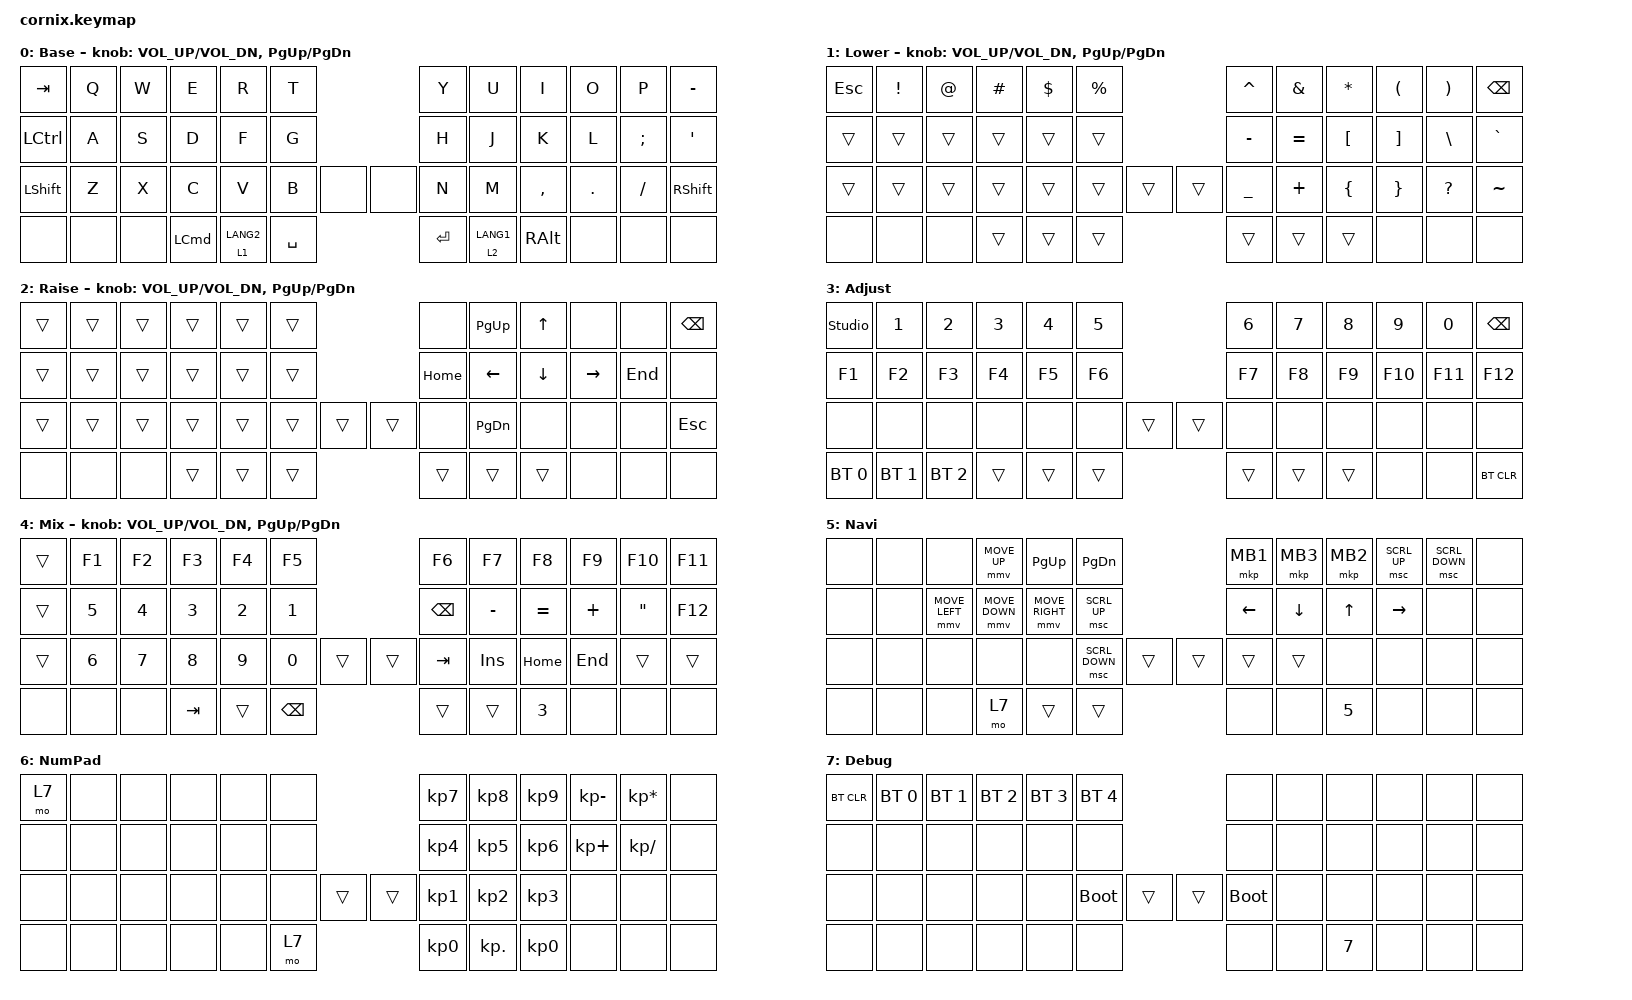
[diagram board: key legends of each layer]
/*
 * Copyright (c) 2020 The ZMK Contributors
 *
 * SPDX-License-Identifier: MIT
 */

#include "zmk-helpers/helper.h"
#include "includes/cornix54.h"

// tap windows for ctl alt and gui

#define HM_TAPPING_TERM 250
#define HM_TAPPING_REPEAT 210

// quick tapping for shift

#define HM_TAPPING_TERM_FAST 200
#define HM_PRIOR_IDLE 70
#define BASE 0
#define WIN 1
#define LOWER 2
#define RAISE 3
#define ADJUST 4
#define NAVI   5
#define NUM    6
#define DEBUG  7

// https://github.com/urob/zmk-config/tree/main#timeless-homerow-mods

#define KEYS_L LT0 LT1 LT2 LT3 LT4 LT5 LM0 LM1 LM2 LM3 LM4 LM5 LB0 LB1 LB2 LB3 LB4 LB5  // left hand
#define KEYS_R RT0 RT1 RT2 RT3 RT4 RT5 RM0 RM1 RM2 RM3 RM4 RM5 RB0 RB1 RB2 RB3 RB4 RB5  // right hand
#define THUMBS LH1 LH0 RH0 RH1
#define KEYS_T LH1 LH0 RH0 RH1
#define ZMK_POINTING_DEFAULT_SCRL_VAL 15

#include <behaviors.dtsi>
#include <dt-bindings/zmk/bt.h>
#include <dt-bindings/zmk/keys.h>
#include <dt-bindings/zmk/pointing.h>

/ {
    // Activate ADJUST layer by pressing raise and lower

    behaviors {
        hm_l: homerow_mods_left {
            compatible = "zmk,behavior-hold-tap";
            #binding-cells = <2>;
            bindings = <&kp>, <&kp>;

            flavor = "balanced";
            tapping-term-ms = <HM_TAPPING_TERM>;
            quick-tap-ms = <200>;                // repeat on tap-into-hold
            require-prior-idle-ms = <HM_PRIOR_IDLE>;
            hold-trigger-key-positions = <KEYS_R KEYS_T>;
            hold-trigger-on-release;
        };

        hm_r: homerow_mods_right {
            compatible = "zmk,behavior-hold-tap";
            #binding-cells = <2>;
            bindings = <&kp>, <&kp>;

            flavor = "balanced";
            tapping-term-ms = <HM_TAPPING_TERM>;
            quick-tap-ms = <200>;
            require-prior-idle-ms = <HM_PRIOR_IDLE>;
            hold-trigger-key-positions = <KEYS_L KEYS_T>;
            hold-trigger-on-release;
        };

        // Positional Homerow mods for shift
        // Use faster tapping term and disable some features that may
        // cause false negatives.

        hm_shift_l: hm_shift_l {
            compatible = "zmk,behavior-hold-tap";
            #binding-cells = <2>;
            bindings = <&kp>, <&kp>;

            //flavor = "balanced";

            flavor = "balanced";
            tapping-term-ms = <HM_TAPPING_TERM_FAST>;
            quick-tap-ms = <200>;
            require-prior-idle-ms = <HM_PRIOR_IDLE>;
            hold-trigger-key-positions = <KEYS_R KEYS_T>;
            hold-trigger-on-release;
        };

        hm_shift_r: hm_shift_r {
            compatible = "zmk,behavior-hold-tap";
            #binding-cells = <2>;
            bindings = <&kp>, <&kp>;

            flavor = "balanced";
            tapping-term-ms = <HM_TAPPING_TERM_FAST>;
            quick-tap-ms = <200>;
            require-prior-idle-ms = <HM_PRIOR_IDLE>;
            hold-trigger-key-positions = <KEYS_L KEYS_T>;

            // for quick tapping; shift+~

            hold-trigger-on-release;
        };

        /*
         * Non-Positional Homerow Mods
         * Used for &mm_grescm_gui behavior on left hand.
         *
         * Usage: &hm LSHFT T
         * Tap: T
         * Tap-Tap-Hold: Repeat T
         * Hold: LSHIFT
         */

        hm: homerow_mods {
            compatible = "zmk,behavior-hold-tap";
            #binding-cells = <2>;
            bindings = <&kp>, <&kp>;

            flavor = "balanced";
            tapping-term-ms = <HM_TAPPING_TERM>;
            quick-tap-ms = <200>;
        };

        lt: layer_tap {
            compatible = "zmk,behavior-hold-tap";
            #binding-cells = <2>;
            bindings = <&mo>, <&kp>;

            flavor = "hold-preferred";
            tapping-term-ms = <HM_TAPPING_TERM>;
            quick-tap-ms = <200>;
        };

        // 左右共通のレイヤーキー設定

        lt_thumb: layer_tap_thumb {
            compatible = "zmk,behavior-hold-tap";
            label = "LAYER_TAP_THUMB";
            #binding-cells = <2>;

            // 判定時間。左右共通でご自身の感覚に合う数値（150〜200あたり）

            tapping-term-ms = <HM_TAPPING_TERM>;
            #tapping-term-ms = <175>;

            // 連続タップ時の強制タップ化を無効化

            quick-tap-ms = <0>;

            // QMKのHOLD_ON_OTHER_KEY_PRESS相当。他のキーが押されたら即レイヤー化

            flavor = "hold-preferred";
            bindings = <&mo>, <&kp>;
        };
    };

    conditional_layers {
        compatible = "zmk,conditional-layers";

        adjust_layer {
            if-layers = <1 2>;
            then-layer = <3>;
        };
    };

    combos { compatible = "zmk,combos"; };

    keymap {
        compatible = "zmk,keymap";

        default_layer {
            display-name = "Base";

            // ------------------------------------------------------------------------------------------------------------
            // |   `   |  1  |  2  |  3   |  4   |  5   |                   |  6   |  7    |  8    |  9   |   0   |       |
            // |  ESC  |  Q  |  W  |  E   |  R   |  T   |                   |  Y   |  U    |  I    |  O   |   P   | BKSPC |
            // |  TAB  |  A  |  S  |  D   |  F   |  G   |                   |  H   |  J    |  K    |  L   |   ;   |   '   |
            // | SHIFT |  Z  |  X  |  C   |  V   |  B   |  MUTE  |  |       |  N   |  M    |  ,    |  .   |   /   | SHIFT |
            //               | GUI | ALT  | CTRL | LOWER|  ENTER |  | SPACE | RAISE| CTRL  | ALT   | GUI  |

            bindings = <
&kp TAB         &kp Q  &kp W  &kp E     &kp R              &kp T                    &kp Y      &kp U              &kp I      &kp O    &kp P          &kp MINUS
&kp LCTRL       &kp A  &kp S  &kp D     &kp F              &kp G                    &kp H      &kp J              &kp K      &kp L    &kp SEMICOLON  &kp SQT
&kp LEFT_SHIFT  &kp Z  &kp X  &kp C     &kp V              &kp B      &none  &none  &kp N      &kp M              &kp COMMA  &kp DOT  &kp SLASH      &kp RIGHT_SHIFT
&none           &none  &none  &kp LCMD  &lt_thumb 1 LANG2  &kp SPACE                &kp ENTER  &lt_thumb 2 LANG1  &kp RALT   &none    &none          &none
            >;

            sensor-bindings = <&inc_dec_kp C_VOL_UP C_VOL_DN &inc_dec_kp PG_UP PG_DN>;
        };

        Lower_layer {
            display-name = "Lower";

            // ------------------------------------------------------------------------------------------------------------
            // |   `   |  1  |  2  |  3   |  4   |  5   |                   |  6   |  7    |  8    |  9   |   0   |       |
            // |  ESC  |  Q  |  W  |  E   |  R   |  T   |                   |  Y   |  U    |  I    |  O   |   P   | BKSPC |
            // |  TAB  |  A  |  S  |  D   |  F   |  G   |                   |  H   |  J    |  K    |  L   |   ;   |   '   |
            // | SHIFT |  Z  |  X  |  C   |  V   |  B   |  MUTE  |  |       |  N   |  M    |  ,    |  .   |   /   | SHIFT |
            //               | GUI | ALT  | CTRL | LOWER|  ENTER |  | SPACE | RAISE| CTRL  | ALT   | GUI  |

            bindings = <
&kp ESC  &kp EXCL  &kp AT  &kp HASH  &kp DLLR  &kp PRCNT                  &kp CARET  &kp AMPS   &kp STAR          &kp LPAR           &kp RPAR       &kp BACKSPACE
&trans   &trans    &trans  &trans    &trans    &trans                     &kp MINUS  &kp EQUAL  &kp LEFT_BRACKET  &kp RIGHT_BRACKET  &kp BACKSLASH  &kp GRAVE
&trans   &trans    &trans  &trans    &trans    &trans     &trans  &trans  &kp UNDER  &kp PLUS   &kp LBRC          &kp RBRC           &kp QMARK      &kp TILDE
&none    &none     &none   &trans    &trans    &trans                     &trans     &trans     &trans            &none              &none          &none
            >;

            sensor-bindings = <&inc_dec_kp C_VOL_UP C_VOL_DN &inc_dec_kp PG_UP PG_DN>;
        };

        Raise_layer {
            display-name = "Raise";

            // TODO: Some binds are waiting for shifted keycode support.
            // -------------------------------
            // |       |  F1 |  F2 |  F3  |  F4  |  F5  |                   |  F6  |  F7   |  F8   |  F9  |  F10  |  F11  |
            // |   `   |  1  |  2  |  3   |  4   |  5   |                   |  6   |  7    |  8    |  9   |   0   |  F12  |
            // |       |  !  |  @  |  #   |  $   |  %   |                   |  ^   |  &    |  *    |  (   |   )   |   |   |
            // |       |  =  |  -  |  +   |  {   |  }   |        |  |       |  [   |  ]    |  ;    |  :   |   \   |       |
            //               |     |      |      |      |        |  |       |      |       |       |      |

            bindings = <
&trans  &trans  &trans  &trans  &trans  &trans                  &none     &kp PAGE_UP    &kp UP    &none      &none    &kp BACKSPACE
&trans  &trans  &trans  &trans  &trans  &trans                  &kp HOME  &kp LEFT       &kp DOWN  &kp RIGHT  &kp END  &none
&trans  &trans  &trans  &trans  &trans  &trans  &trans  &trans  &none     &kp PAGE_DOWN  &none     &none      &none    &kp ESCAPE
&none   &none   &none   &trans  &trans  &trans                  &trans    &trans         &trans    &none      &none    &none
            >;

            sensor-bindings = <&inc_dec_kp C_VOL_UP C_VOL_DN &inc_dec_kp PG_UP PG_DN>;
        };

        Adjust_layer {
            display-name = "Adjust";

            // ----------------------------------------------------------------------------------------------------------------------------
            // | BTCLR  |  BT1    |  BT2    |   BT3   |   BT4   |   BT5   |                  |      |      |       |      |       |       |
            // | moDEBUG| RGB_HUD | RGB_HUI | RGB_SAD | RGB_SAI | RGB_EFF |                  |      |      |       |      |       |       |
            // | EXTPWR | RGB_BRD | RGB_BRI |         |         |         |                  |      |      |       |      |       |       |
            // |        |         |         |         |         |         | RGB_TOG | |      |      |      |       |      |       |       |
            //                    |         |         |         |         |         | |      |      |      |       |      |

            bindings = <
&studio_unlock  &kp N1        &kp N2        &kp N3  &kp N4  &kp N5                  &kp N6  &kp N7  &kp N8  &kp N9   &kp N0   &kp BACKSPACE
&kp F1          &kp F2        &kp F3        &kp F4  &kp F5  &kp F6                  &kp F7  &kp F8  &kp F9  &kp F10  &kp F11  &kp F12
&none           &none         &none         &none   &none   &none   &trans  &trans  &none   &none   &none   &none    &none    &none
&bt BT_SEL 0    &bt BT_SEL 1  &bt BT_SEL 2  &trans  &trans  &trans                  &trans  &trans  &trans  &none    &none    &bt BT_CLR
            >;
        };

        Mix_layer {
            display-name = "Mix";

            // ------------------------------------------------------------------------------------------------------------
            // | BTCLR | BT1  | BT2  |  BT3  |  BT4  |  BT5 |                |      |      |       |      |       |       |
            // |       | INS  | PSCR | GUI   |       |      |                | PGUP |      |   ^   |      |       |       |
            // |       | ALT  | CTRL | SHIFT |       | CAPS |                | PGDN |   <- |   v   |  ->  |  DEL  | BKSPC |
            // |       | UNDO | CUT  | COPY  | PASTE |      |      |  |      |      |      |       |      |       |       |
            //                |      |       |       |      |      |  |      |      |      |       |      |

            bindings = <
&trans  &kp F1  &kp F2  &kp F3   &kp F4  &kp F5                         &kp F6    &kp F7     &kp F8     &kp F9    &kp F10  &kp F11
&trans  &kp N5  &kp N4  &kp N3   &kp N2  &kp N1                         &kp BSPC  &kp MINUS  &kp EQUAL  &kp PLUS  &kp DQT  &kp F12
&trans  &kp N6  &kp N7  &kp N8   &kp N9  &kp N0         &trans  &trans  &kp TAB   &kp INS    &kp HOME   &kp END   &trans   &trans
&none   &none   &none   &kp TAB  &trans  &kp BACKSPACE                  &trans    &trans     &kp N3     &none     &none    &none
            >;

            sensor-bindings = <&inc_dec_kp C_VOL_UP C_VOL_DN &inc_dec_kp PG_UP PG_DN>;
        };

        Navi_layer {
            display-name = "Navi";
            bindings = <
&none  &none  &none           &mmv MOVE_UP    &kp PAGE_UP      &kp PAGE_DOWN                   &mkp MB1  &mkp MB3  &mkp MB2  &msc SCRL_UP  &msc SCRL_DOWN  &none
&none  &none  &mmv MOVE_LEFT  &mmv MOVE_DOWN  &mmv MOVE_RIGHT  &msc SCRL_UP                    &kp LEFT  &kp DOWN  &kp UP    &kp RIGHT     &none           &none
&none  &none  &none           &none           &none            &msc SCRL_DOWN  &trans  &trans  &trans    &trans    &none     &none         &none           &none
&none  &none  &none           &mo 7           &trans           &trans                          &none     &none     &kp N5    &none         &none           &none
            >;
        };

        KeyPad_layer {
            display-name = "NumPad";
            bindings = <
&mo 7  &none  &none  &none  &none  &none                  &kp KP_N7        &kp KP_N8        &kp KP_N9        &kp KP_MINUS  &kp KP_MULTIPLY  &none
&none  &none  &none  &none  &none  &none                  &kp KP_NUMBER_4  &kp KP_NUMBER_5  &kp KP_N6        &kp KP_PLUS   &kp KP_DIVIDE    &none
&none  &none  &none  &none  &none  &none  &trans  &trans  &kp KP_NUMBER_1  &kp KP_NUMBER_2  &kp KP_N3        &none         &none            &none
&none  &none  &none  &none  &none  &mo 7                  &kp KP_N0        &kp KP_DOT       &kp KP_NUMBER_0  &none         &none            &none
            >;
        };

        Debug_layer {
            display-name = "Debug";

            // ----------------------------------------------------------------------------------------------------------------------------
            // | BTCLR  |  BT1    |  BT2    |   BT3   |   BT4   |   BT5   |                  |      |      |       |      |       |       |
            // | EXTPWR | BTCLR | RGB_HUI | RGB_SAD | RGB_SAI | RGB_EFF |                  |      |      |       |      |       |       |
            // |        | RGB_BRD | RGB_BRI |         |         |         |                  |      |      |       |      |       |       |
            // |        |         |         |         |         |         | RGB_TOG | |      |      |      |       |      |       |       |
            //                    |         |         |         |         |         | |      |      |      |       |      |

            bindings = <
&bt BT_CLR  &bt BT_SEL 0  &bt BT_SEL 1  &bt BT_SEL 2  &bt BT_SEL 3  &bt BT_SEL 4                  &none        &none  &none   &none  &none  &none
&none       &none         &none         &none         &none         &none                         &none        &none  &none   &none  &none  &none
&none       &none         &none         &none         &none         &bootloader   &trans  &trans  &bootloader  &none  &none   &none  &none  &none
&none       &none         &none         &none         &none         &none                         &none        &none  &kp N7  &none  &none  &none
            >;
        };
    };
};
